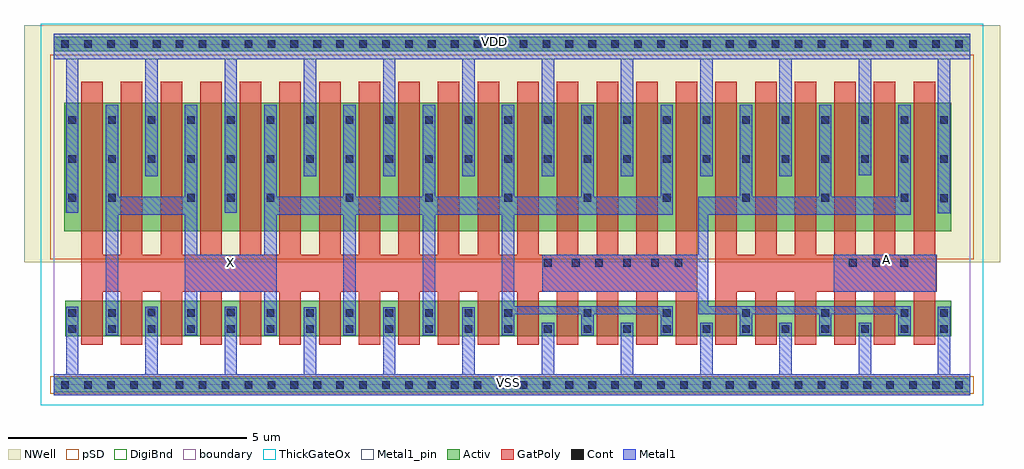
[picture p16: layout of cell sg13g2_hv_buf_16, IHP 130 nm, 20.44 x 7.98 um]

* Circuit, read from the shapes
.subckt sg13g2_hv_buf_16 A VDD VSS X
XM1 X n1 VSS VSS sg13_hv_nmos w=0.74u l=0.45u m=16
XM2 n1 A VSS VSS sg13_hv_nmos w=0.74u l=0.45u m=6
XM3 X n1 VDD VDD sg13_hv_pmos w=2.69u l=0.45u m=16
XM4 n1 A VDD VDD sg13_hv_pmos w=2.69u l=0.45u m=6
.ends

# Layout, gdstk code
import gdstk
lib = gdstk.Library(unit=1e-6, precision=1e-09)
def R(c, l, rs):  # rectangles x0, y0, x1, y1
    for r in rs: c.add(gdstk.rectangle(r[:2], r[2:], *l))
def A(c, l, x, y, w, h, nx, ny, dx, dy):  # array of equal rectangles
    R(c, l, [(x+i*dx, y+j*dy, x+i*dx+w, y+j*dy+h) for i in range(nx) for j in range(ny)])
def P(c, l, *ps):  # polygons
    for p in ps: c.add(gdstk.Polygon(p, *l))
Activ = (1, 0)
GatPoly = (5, 0)
Cont = (6, 0)
Metal1 = (8, 0)
Metal1_pin = (8, 2)
pSD = (14, 0)
DigiBnd = (16, 0)
NWell = (31, 0)
ThickGateOx = (44, 0)
boundary = (189, 4)

sg13g2_hv_buf_16 = lib.new_cell('sg13g2_hv_buf_16')
R(sg13g2_hv_buf_16, Activ, [(0,-0.15,19.2,0.15), (0.24,1.02,18.8,1.76), (0.225,3.22,18.8,5.91), (0,6.99,19.2,7.29)])
P(sg13g2_hv_buf_16, GatPoly, [(13.86,0.84),(13.86,6.345),(14.31,6.345),(14.31,2.725),(14.69,2.725),(14.69,6.345),(15.14,6.345),(15.14,2.725),(15.52,2.725),(15.52,6.345),(15.97,6.345),(15.97,2.725),(16.35,2.725),(16.35,6.345),(16.8,6.345),(16.8,2.725),(17.18,2.725),(17.18,6.345),(17.63,6.345),(17.63,2.725),(18.01,2.725),(18.01,6.345),(18.46,6.345),(18.46,2.725),(18.5,2.725),(18.5,1.95),(18.46,1.95),(18.46,0.84),(18.01,0.84),(18.01,1.95),(17.63,1.95),(17.63,0.84),(17.18,0.84),(17.18,1.95),(16.8,1.95),(16.8,0.84),(16.35,0.84),(16.35,1.95),(15.97,1.95),(15.97,0.84),(15.52,0.84),(15.52,1.95),(15.14,1.95),(15.14,0.84),(14.69,0.84),(14.69,1.95),(14.31,1.95),(14.31,0.84)],
  [(0.58,0.84),(0.58,6.345),(1.03,6.345),(1.03,2.725),(1.41,2.725),(1.41,6.345),(1.86,6.345),(1.86,2.725),(2.24,2.725),(2.24,6.345),(2.69,6.345),(2.69,2.725),(3.07,2.725),(3.07,6.345),(3.52,6.345),(3.52,2.725),(3.9,2.725),(3.9,6.345),(4.35,6.345),(4.35,2.725),(4.73,2.725),(4.73,6.345),(5.18,6.345),(5.18,2.725),(5.56,2.725),(5.56,6.345),(6.01,6.345),(6.01,2.725),(6.39,2.725),(6.39,6.345),(6.84,6.345),(6.84,2.725),(7.22,2.725),(7.22,6.345),(7.67,6.345),(7.67,2.725),(8.05,2.725),(8.05,6.345),(8.5,6.345),(8.5,2.725),(8.88,2.725),(8.88,6.345),(9.33,6.345),(9.33,2.725),(9.71,2.725),(9.71,6.345),(10.16,6.345),(10.16,2.725),(10.54,2.725),(10.54,6.345),(10.99,6.345),(10.99,2.725),(11.37,2.725),(11.37,6.345),(11.82,6.345),(11.82,2.725),(12.2,2.725),(12.2,6.345),(12.65,6.345),(12.65,2.725),(13.03,2.725),(13.03,6.345),(13.48,6.345),(13.48,0.84),(13.03,0.84),(13.03,1.95),(12.65,1.95),(12.65,0.84),(12.2,0.84),(12.2,1.95),(11.82,1.95),(11.82,0.84),(11.37,0.84),(11.37,1.95),(10.99,1.95),(10.99,0.84),(10.54,0.84),(10.54,1.95),(10.16,1.95),(10.16,0.84),(9.71,0.84),(9.71,1.95),(9.33,1.95),(9.33,0.84),(8.88,0.84),(8.88,1.95),(8.5,1.95),(8.5,0.84),(8.05,0.84),(8.05,1.95),(7.67,1.95),(7.67,0.84),(7.22,0.84),(7.22,1.95),(6.84,1.95),(6.84,0.84),(6.39,0.84),(6.39,1.95),(6.01,1.95),(6.01,0.84),(5.56,0.84),(5.56,1.95),(5.18,1.95),(5.18,0.84),(4.73,0.84),(4.73,1.95),(4.35,1.95),(4.35,0.84),(3.9,0.84),(3.9,1.95),(3.52,1.95),(3.52,0.84),(3.07,0.84),(3.07,1.95),(2.69,1.95),(2.69,0.84),(2.24,0.84),(2.24,1.95),(1.86,1.95),(1.86,0.84),(1.41,0.84),(1.41,1.95),(1.03,1.95),(1.03,0.84)])
A(sg13g2_hv_buf_16, Cont, 0.16, -0.08, 0.16, 0.16, 40, 2, 0.48, 7.14)
A(sg13g2_hv_buf_16, Cont, 0.31, 1.09, 0.16, 0.16, 23, 2, 0.83, 3.565)
A(sg13g2_hv_buf_16, Cont, 1.14, 1.43, 0.16, 0.16, 3, 1, 1.66, 0)
A(sg13g2_hv_buf_16, Cont, 5.29, 1.43, 0.16, 0.16, 6, 1, 0.83, 0)
A(sg13g2_hv_buf_16, Cont, 11.1, 1.43, 0.16, 0.16, 5, 1, 1.66, 0)
A(sg13g2_hv_buf_16, Cont, 11.345, 2.48, 0.16, 0.16, 3, 1, 0.585, 0)
A(sg13g2_hv_buf_16, Cont, 2.8, 3.84, 0.16, 0.16, 3, 1, 0.83, 0)
A(sg13g2_hv_buf_16, Cont, 6.12, 3.84, 0.16, 0.16, 8, 1, 1.66, 0)
A(sg13g2_hv_buf_16, Cont, 0.31, 5.47, 0.16, 0.16, 23, 1, 0.83, 0)
R(sg13g2_hv_buf_16, Cont, [(0.31,1.43,0.47,1.59), (18.57,1.43,18.73,1.59), (1.97,1.435,2.13,1.595), (3.63,1.435,3.79,1.595), (10.27,2.48,10.43,2.64), (10.855,2.48,11.015,2.64), (13.005,2.48,13.165,2.64), (16.655,2.48,16.815,2.64), (17.145,2.48,17.305,2.64), (17.735,2.48,17.895,2.64), (18.57,3.83,18.73,3.99), (0.31,3.84,0.47,4), (1.14,3.84,1.3,4)])
R(sg13g2_hv_buf_16, Metal1, [(16.34,1.95,18.48,2.725)])
P(sg13g2_hv_buf_16, Metal1, [(0,-0.22),(0,0.22),(0.26,0.22),(0.26,1.64),(0.52,1.64),(0.52,0.22),(1.92,0.22),(1.92,1.64),(2.18,1.64),(2.18,0.22),(3.58,0.22),(3.58,1.64),(3.84,1.64),(3.84,0.22),(5.24,0.22),(5.24,1.625),(5.5,1.625),(5.5,0.22),(6.9,0.22),(6.9,1.625),(7.16,1.625),(7.16,0.22),(8.56,0.22),(8.56,1.625),(8.82,1.625),(8.82,0.22),(10.22,0.22),(10.22,1.3),(10.48,1.3),(10.48,0.22),(11.88,0.22),(11.88,1.3),(12.14,1.3),(12.14,0.22),(13.54,0.22),(13.54,1.3),(13.805,1.3),(13.805,0.22),(15.2,0.22),(15.2,1.3),(15.46,1.3),(15.46,0.22),(16.86,0.22),(16.86,1.3),(17.12,1.3),(17.12,0.22),(18.52,0.22),(18.52,1.64),(18.78,1.64),(18.78,0.22),(19.2,0.22),(19.2,-0.22)],
  [(18.52,3.595),(18.52,6.825),(17.12,6.825),(17.12,4.39),(16.86,4.39),(16.86,6.825),(15.46,6.825),(15.46,4.375),(15.2,4.375),(15.2,6.825),(13.8,6.825),(13.8,4.375),(13.54,4.375),(13.54,6.825),(12.14,6.825),(12.14,4.375),(11.88,4.375),(11.88,6.825),(10.48,6.825),(10.48,4.375),(10.22,4.375),(10.22,6.825),(8.82,6.825),(8.82,4.375),(8.56,4.375),(8.56,6.825),(7.16,6.825),(7.16,4.375),(6.9,4.375),(6.9,6.825),(5.5,6.825),(5.5,4.375),(5.24,4.375),(5.24,6.825),(3.84,6.825),(3.84,3.61),(3.58,3.61),(3.58,6.825),(2.18,6.825),(2.18,4.375),(1.92,4.375),(1.92,6.825),(0.52,6.825),(0.52,3.61),(0.26,3.61),(0.26,6.825),(0,6.825),(0,7.36),(19.2,7.36),(19.2,6.825),(18.78,6.825),(18.78,3.595)],
  [(14.37,1.04),(14.37,1.48),(13.505,1.48),(13.505,1.95),(10.235,1.95),(10.235,2.725),(13.505,2.725),(13.505,3.945),(14.37,3.945),(14.37,5.865),(14.63,5.865),(14.63,3.945),(16.03,3.945),(16.03,5.865),(16.29,5.865),(16.29,3.945),(17.69,3.945),(17.69,5.865),(17.95,5.865),(17.95,3.56),(13.715,3.56),(13.715,1.65),(17.95,1.65),(17.95,1.04),(17.69,1.04),(17.69,1.48),(16.29,1.48),(16.29,1.04),(16.03,1.04),(16.03,1.48),(14.63,1.48),(14.63,1.04)],
  [(1.09,1.04),(1.09,5.865),(1.35,5.865),(1.35,3.945),(2.75,3.945),(2.75,5.865),(3.01,5.865),(3.01,2.725),(4.41,2.725),(4.41,5.865),(4.67,5.865),(4.67,3.945),(6.07,3.945),(6.07,5.865),(6.33,5.865),(6.33,3.945),(7.73,3.945),(7.73,5.865),(7.99,5.865),(7.99,3.945),(9.39,3.945),(9.39,5.865),(9.65,5.865),(9.65,3.945),(11.05,3.945),(11.05,5.865),(11.31,5.865),(11.31,3.945),(12.71,3.945),(12.71,5.865),(12.97,5.865),(12.97,3.56),(9.65,3.56),(9.65,1.65),(12.97,1.65),(12.97,1.04),(12.71,1.04),(12.71,1.48),(11.31,1.48),(11.31,1.04),(11.05,1.04),(11.05,1.48),(9.65,1.48),(9.65,1.04),(9.39,1.04),(9.39,3.56),(7.99,3.56),(7.99,1.04),(7.73,1.04),(7.73,3.56),(6.33,3.56),(6.33,1.04),(6.07,1.04),(6.07,3.56),(4.67,3.56),(4.67,1.04),(4.41,1.04),(4.41,1.95),(3.01,1.95),(3.01,1.04),(2.75,1.04),(2.75,3.56),(1.35,3.56),(1.35,1.04)])
R(sg13g2_hv_buf_16, Metal1_pin, [(0,-0.22,19.2,0.22), (2.75,1.95,4.67,2.725), (16.34,1.95,18.48,2.725), (0,6.825,19.2,7.36)])
R(sg13g2_hv_buf_16, pSD, [(-0.07,-0.18,19.27,0.18), (-0.07,2.635,19.27,6.92)])
R(sg13g2_hv_buf_16, DigiBnd, [(0,0,19.2,7.14)])
R(sg13g2_hv_buf_16, NWell, [(-0.62,2.57,19.82,7.53)])
R(sg13g2_hv_buf_16, ThickGateOx, [(-0.27,-0.42,19.47,7.56)])
R(sg13g2_hv_buf_16, boundary, [(0,0,19.2,7.14)])
sg13g2_hv_buf_16.add(gdstk.Label('VDD', (9.225,7.195), layer=8, texttype=25))
sg13g2_hv_buf_16.add(gdstk.Label('VSS', (9.53,0.055), layer=8, texttype=25))
sg13g2_hv_buf_16.add(gdstk.Label('A', (17.44,2.63), layer=8, texttype=25))
sg13g2_hv_buf_16.add(gdstk.Label('X', (3.7,2.555), layer=8, texttype=25))

lib.write_gds('sg13g2_hv_buf_16.gds')
